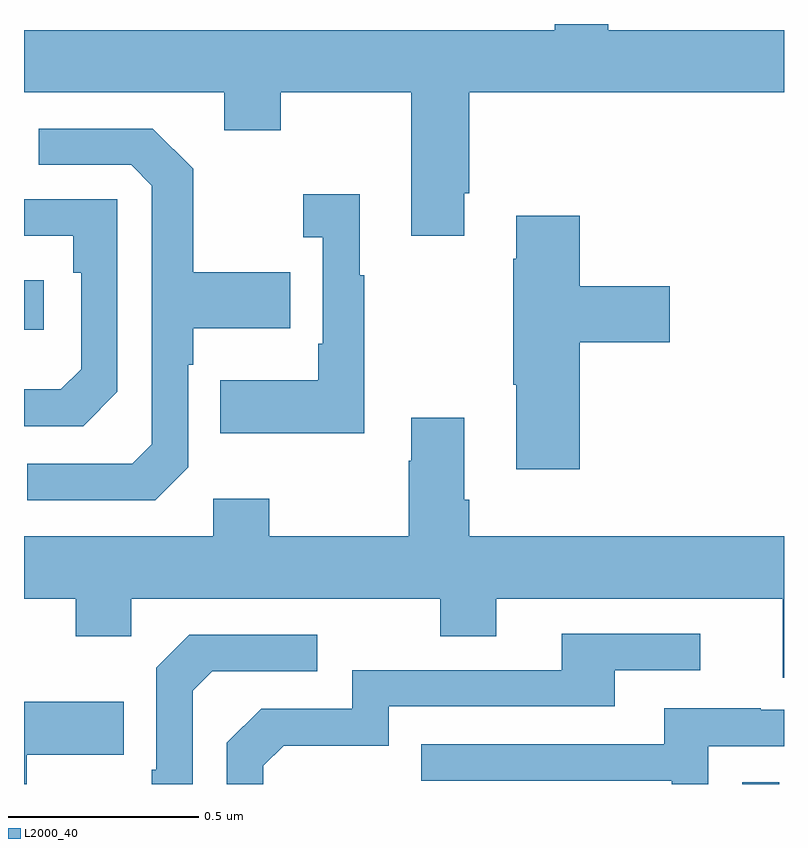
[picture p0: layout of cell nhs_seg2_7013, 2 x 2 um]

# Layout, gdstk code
import gdstk
lib = gdstk.Library(unit=1e-6, precision=1e-09)
def R(c, l, rs):  # rectangles x0, y0, x1, y1
    for r in rs: c.add(gdstk.rectangle(r[:2], r[2:], *l))
def P(c, l, *ps):  # polygons
    for p in ps: c.add(gdstk.Polygon(p, *l))
L2000_40 = (2000, 40)

nhs_seg2_7013 = lib.new_cell('nhs_seg2_7013')
R(nhs_seg2_7013, L2000_40, [(199.89,661.8,199.987,661.804), (198,662.996,198.052,663.126)])
P(nhs_seg2_7013, L2000_40, [(199.159,663.355),(199.172,663.355),(199.172,663.62),(200,663.62),(200,663.784),(199.537,663.784),(199.537,663.8),(199.397,663.8),(199.397,663.784),(198,663.784),(198,663.62),(198.527,663.62),(198.527,663.521),(198.675,663.521),(198.675,663.62),(199.019,663.62),(199.019,663.243),(199.159,663.243)],
  [(198.432,662.634),(198.432,662.903),(198.445,662.903),(198.445,662.999),(198.701,662.999),(198.701,663.147),(198.445,663.147),(198.445,663.419),(198.339,663.525),(198.039,663.525),(198.039,663.429),(198.282,663.429),(198.336,663.375),(198.336,662.694),(198.285,662.643),(198.009,662.643),(198.009,662.547),(198.345,662.547)],
  [(198.895,663.139),(198.883,663.139),(198.883,663.352),(198.735,663.352),(198.735,663.239),(198.786,663.239),(198.786,662.959),(198.774,662.959),(198.774,662.863),(198.517,662.863),(198.517,662.723),(198.895,662.723)],
  [(198.246,662.832),(198.246,663.339),(198,663.339),(198,663.243),(198.13,663.243),(198.13,663.146),(198.15,663.146),(198.15,662.892),(198.097,662.839),(198,662.839),(198,662.742),(198.156,662.742)],
  [(199.463,662.963),(199.699,662.963),(199.699,663.11),(199.463,663.11),(199.463,663.295),(199.295,663.295),(199.295,663.182),(199.288,663.182),(199.288,662.851),(199.295,662.851),(199.295,662.628),(199.463,662.628)],
  [(200,662.452),(199.172,662.452),(199.172,662.548),(199.159,662.548),(199.159,662.764),(199.019,662.764),(199.019,662.651),(199.012,662.651),(199.012,662.452),(198.645,662.452),(198.645,662.551),(198.498,662.551),(198.498,662.452),(198,662.452),(198,662.288),(198.136,662.288),(198.136,662.189),(198.282,662.189),(198.282,662.288),(199.096,662.288),(199.096,662.189),(199.243,662.189),(199.243,662.288),(199.997,662.288),(199.997,662.08),(200,662.08)],
  [(198.63,661.848),(198.683,661.901),(198.96,661.901),(198.96,662.004),(199.555,662.004),(199.555,662.1),(199.78,662.1),(199.78,662.196),(199.415,662.196),(199.415,662.1),(198.864,662.1),(198.864,661.998),(198.624,661.998),(198.534,661.908),(198.534,661.8),(198.63,661.8)],
  [(198.444,662.046),(198.495,662.097),(198.772,662.097),(198.772,662.193),(198.435,662.193),(198.348,662.106),(198.348,661.837),(198.336,661.837),(198.336,661.8),(198.444,661.8)],
  [(198.007,661.877),(198.263,661.877),(198.263,662.017),(198,662.017),(198,661.8),(198.007,661.8)],
  [(199.8,661.899),(200,661.899),(200,661.995),(199.939,661.995),(199.939,661.999),(199.685,661.999),(199.685,661.905),(199.045,661.905),(199.045,661.809),(199.704,661.809),(199.704,661.8),(199.8,661.8)])

lib.write_gds('nhs_seg2_7013.gds')
